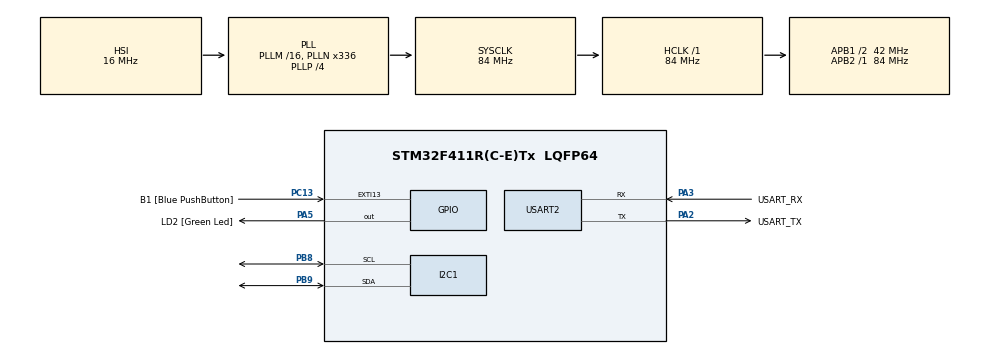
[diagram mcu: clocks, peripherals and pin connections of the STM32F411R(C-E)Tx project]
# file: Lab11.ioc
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Mcu.Family=STM32F4
PC15-OSC32_OUT.Mode=LSE-External-Oscillator
RCC.CortexFreq_Value=84000000
NVIC.I2C1_EV_IRQn=true\:0\:0\:false\:false\:true\:true\:true
PC13-ANTI_TAMP.GPIO_PuPd=GPIO_PULLUP
PC13-ANTI_TAMP.GPIO_Label=B1 [Blue PushButton]
PA14.GPIO_Label=TCK
PH1\ -\ OSC_OUT.Mode=HSE-External-Clock-Source
RCC.APB1CLKDivider=RCC_HCLK_DIV2
PC14-OSC32_IN.Signal=RCC_OSC32_IN
RCC.SYSCLKSource=RCC_SYSCLKSOURCE_PLLCLK
ProjectManager.StackSize=0x400
PA13.Signal=SYS_JTMS-SWDIO
PA3.Mode=Asynchronous
PH0\ -\ OSC_IN.Mode=HSE-External-Clock-Source
PH0\ -\ OSC_IN.Signal=RCC_OSC_IN
ProjectManager.TargetToolchain=STM32CubeIDE
I2C1.I2C_Mode=I2C_Fast
RCC.HCLKFreq_Value=84000000
PB9.Mode=I2C
RCC.APB2TimFreq_Value=84000000
PC15-OSC32_OUT.Signal=RCC_OSC32_OUT
RCC.AHBFreq_Value=84000000
NVIC.EXTI15_10_IRQn=true\:0\:0\:false\:false\:true\:true\:true
PA5.Signal=GPIO_Output
RCC.HSE_VALUE=8000000
PH1\ -\ OSC_OUT.Signal=RCC_OSC_OUT
board=NUCLEO-F411RE
PC13-ANTI_TAMP.Signal=GPXTI13
RCC.VCOOutputFreq_Value=336000000
RCC.APB2Freq_Value=84000000
PC14-OSC32_IN.Mode=LSE-External-Oscillator
PA14.Mode=Serial_Wire
PA13.Mode=Serial_Wire
NVIC.I2C1_ER_IRQn=true\:0\:0\:false\:false\:true\:true\:true
Mcu.Name=STM32F411R(C-E)Tx
PA2.Signal=USART2_TX
PA13.GPIO_Label=TMS
RCC.FLatency-AdvancedSettings=FLASH_LATENCY_2
RCC.48MHZClocksFreq_Value=84000000
PB3.Signal=SYS_JTDO-SWO
RCC.SYSCLKFreq_VALUE=84000000
Mcu.Package=LQFP64
PB9.Signal=I2C1_SDA
PA5.GPIO_Label=LD2 [Green Led]
USART2.VirtualMode=VM_ASYNC
PC13-ANTI_TAMP.GPIO_ModeDefaultEXTI=GPIO_MODE_IT_RISING_FALLING
PA2.GPIO_Label=USART_TX
PA14.Signal=SYS_JTCK-SWCLK
ProjectManager.HeapSize=0x200
RCC.HSI_VALUE=16000000
RCC.PLLP=RCC_PLLP_DIV4
NVIC.PriorityGroup=NVIC_PRIORITYGROUP_0
PB8.Mode=I2C
RCC.PLLN=336
RCC.APB1TimFreq_Value=84000000
PA2.Mode=Asynchronous
PB8.Signal=I2C1_SCL
RCC.APB1Freq_Value=42000000
PA3.GPIO_Label=USART_RX
PA3.Signal=USART2_RX
PB3.GPIO_Label=SWO

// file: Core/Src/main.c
/* USER CODE BEGIN Header */
/**
  ******************************************************************************
  * @file           : main.c
  * @brief          : Main program body
  ******************************************************************************
  * @attention
  *
  * <h2><center>&copy; Copyright (c) 2021 STMicroelectronics.
  * All rights reserved.</center></h2>
  *
  * This software component is licensed by ST under BSD 3-Clause license,
  * the "License"; You may not use this file except in compliance with the
  * License. You may obtain a copy of the License at:
  *                        opensource.org/licenses/BSD-3-Clause
  *
  ******************************************************************************
  */
/* USER CODE END Header */
#include "main.h"

/* USER CODE BEGIN PD */
//address from datasheet
//control code = address code begin with 1010 A2 A1 A0
//A2 A1 A0 ต่อ GND 1010 + 0 0 0
//stm32 I2C 7 bits but require 8 bit with shift front bit
//ต้องครบ 8 bit โดยชิพไปข้างหน้า 1 เพื่อให้อยู่ด้านซ้านสุด 1010000 +0
#define EEPROM_ADDR 0b10100000
//I2C
//slave address 0100 A2 A1 A0
//A2 A1 A0 ต่อ GND 0100 + 0 0 0
#define IOEXPD_ADDR 0b01000000
/* USER CODE END PD */

I2C_HandleTypeDef hi2c1;

UART_HandleTypeDef huart2;

/* USER CODE BEGIN PV */
//tricker
uint8_t eepromExampleWriteFlag = 0;
uint8_t eepromExampleReadFlag = 0;
uint8_t IOExpdrExampleWriteFlag = 0;
uint8_t IOExpdrExampleReadFlag = 0;

uint8_t eepromDataReadBack[4];
uint8_t IOExpdrDataReadBack;
uint8_t IOExpdrDataWrite = 0b1111; //ข้อมูลที่จะเขียนใน io expander ไฟจะติดสลับ

uint8_t led_read = 0b0;
uint8_t D_1 = 0;
uint8_t D_2 = 0;
uint8_t D_3 = 0;
uint8_t D_4 = 0;

GPIO_PinState button[2] = {0};
uint8_t press = 0;
/* USER CODE END PV */

void SystemClock_Config(void);
static void MX_GPIO_Init(void);
static void MX_USART2_UART_Init(void);
static void MX_I2C1_Init(void);
/* USER CODE BEGIN PFP */
//ไม่ได้เรีย�?ใช้บ่อย
//EEProm เป็นอุป�?รณ์เ�?็บข้อมูล เหมืนตารางอยู่ข้างใน
//เป็น�?ารเ�?็บข้อมูล�?บบไม่หายไป ถึง�?ม้ถอดปลั๊�? controller
//เ�?็บข้อมูลไม่ใช้ไฟได้ �?ต่มีจำ�?ัดจำนวนครั้งที่เขียนได้
//ถ้าเขียนเ�?ินจำนวนครั้งที่เขียนไว้ต่อ 1 cell , cell จะเสื่อม ทำให้ไม่เรีย�?ใช้บ่อย
//ใช้เขียนเฉพาะจำเป็น �?ต่อ่านได้เรื่อย ๆ
//มีประโยชน์ใน�?ารเ�?็บข้อมูล setting
void EEPROMWriteExample();
void EEPROMReadExample(uint8_t *Rdata, uint16_t len);
//เพิ่ม port gpio
//ทำงานคล้าย eeprom
void IOExpenderInit();
void IOExpenderReadPinA(uint8_t *Rdata);
void IOExpenderWritePinB(uint8_t Wdata);

/* USER CODE END PFP */

int main(void)
{

  /* MCU Configuration--------------------------------------------------------*/

  /* Reset of all peripherals, Initializes the Flash interface and the Systick. */
  HAL_Init();

  /* Configure the system clock */
  SystemClock_Config();

  /* Initialize all configured peripherals */
  MX_GPIO_Init();
  MX_USART2_UART_Init();
  MX_I2C1_Init();
  /* USER CODE BEGIN 2 */
  //delay ตอนเริ่มเนื่องจา�? ioexpender restart ไปพร้อมๆ�?ับเวลาที่�?ด reset
  //ใช้เวลาเล็�?น้อยใน�?าร ตั้งค่าตัดเอง
  HAL_Delay(100);
  //initial
  IOExpenderInit();
  /* USER CODE END 2 */

  /* Infinite loop */
  /* USER CODE BEGIN WHILE */
  while (1)
  {
	  HAL_I2C_Master_Transmit(&hi2c1, (0x23<<1),(uint8_t*)0x45 , 8, 100);

	  button[0]= HAL_GPIO_ReadPin(GPIOC, GPIO_PIN_13);

	  if(button[1]==GPIO_PIN_SET
	  	  	&& button[0]==GPIO_PIN_RESET && press ==0) //if press button
	  {
		  IOExpdrExampleWriteFlag = 0;
		  IOExpdrExampleReadFlag = 1;
		  eepromExampleWriteFlag = 1;
		  eepromExampleReadFlag = 0;
		  press = 1;
	  }

	  if(button[1]==GPIO_PIN_RESET
	  	  	  	&& button[0]==GPIO_PIN_SET && press ==1) //if press button
	  	  {
	  		  IOExpdrExampleWriteFlag = 1;
	  		  IOExpdrExampleReadFlag = 0;
	  		  eepromExampleWriteFlag = 0;
	  		  eepromExampleReadFlag = 1;
	  		  press = 0;
	  	  }
	  IOExpenderReadPinA(&IOExpdrDataReadBack);
	 //	  led_read = IOExpdrDataReadBack<<4;
	 //	  IOExpdrDataWrite = IOExpdrDataReadBack&0b00001111;
//	 	  D_4 = (IOExpdrDataReadBack&0b1000)>>3;
//	 	  D_3 = (IOExpdrDataReadBack&0b0100)>>2;
//	 	  D_2 = (IOExpdrDataReadBack&0b0010)>>1;
//	 	  D_1 = (IOExpdrDataReadBack&0b0001);
	 	  EEPROMWriteExample();

	 	  	  	   //เ�?็บค่าใน  eepromDataReadBack
	 	  EEPROMReadExample(eepromDataReadBack, 4);
	 	 IOExpenderWritePinB(eepromDataReadBack[0]);
	  button[1] = button[0];

    /* USER CODE END WHILE */

  }
}

void SystemClock_Config(void)
{
  RCC_OscInitTypeDef RCC_OscInitStruct = {0};
  RCC_ClkInitTypeDef RCC_ClkInitStruct = {0};

  /** Configure the main internal regulator output voltage
  */
  __HAL_RCC_PWR_CLK_ENABLE();
  __HAL_PWR_VOLTAGESCALING_CONFIG(PWR_REGULATOR_VOLTAGE_SCALE1);
  /** Initializes the RCC Oscillators according to the specified parameters
  * in the RCC_OscInitTypeDef structure.
  */
  RCC_OscInitStruct.OscillatorType = RCC_OSCILLATORTYPE_HSI;
  RCC_OscInitStruct.HSIState = RCC_HSI_ON;
  RCC_OscInitStruct.HSICalibrationValue = RCC_HSICALIBRATION_DEFAULT;
  RCC_OscInitStruct.PLL.PLLState = RCC_PLL_ON;
  RCC_OscInitStruct.PLL.PLLSource = RCC_PLLSOURCE_HSI;
  RCC_OscInitStruct.PLL.PLLM = 16;
  RCC_OscInitStruct.PLL.PLLN = 336;
  RCC_OscInitStruct.PLL.PLLP = RCC_PLLP_DIV4;
  RCC_OscInitStruct.PLL.PLLQ = 4;
  if (HAL_RCC_OscConfig(&RCC_OscInitStruct) != HAL_OK)
  {
    Error_Handler();
  }
  /** Initializes the CPU, AHB and APB buses clocks
  */
  RCC_ClkInitStruct.ClockType = RCC_CLOCKTYPE_HCLK|RCC_CLOCKTYPE_SYSCLK
                              |RCC_CLOCKTYPE_PCLK1|RCC_CLOCKTYPE_PCLK2;
  RCC_ClkInitStruct.SYSCLKSource = RCC_SYSCLKSOURCE_PLLCLK;
  RCC_ClkInitStruct.AHBCLKDivider = RCC_SYSCLK_DIV1;
  RCC_ClkInitStruct.APB1CLKDivider = RCC_HCLK_DIV2;
  RCC_ClkInitStruct.APB2CLKDivider = RCC_HCLK_DIV1;

  if (HAL_RCC_ClockConfig(&RCC_ClkInitStruct, FLASH_LATENCY_2) != HAL_OK)
  {
    Error_Handler();
  }
}

static void MX_I2C1_Init(void)
{

  hi2c1.Instance = I2C1;
  hi2c1.Init.ClockSpeed = 400000;
  hi2c1.Init.DutyCycle = I2C_DUTYCYCLE_2;
  hi2c1.Init.OwnAddress1 = 0;
  hi2c1.Init.AddressingMode = I2C_ADDRESSINGMODE_7BIT;
  hi2c1.Init.DualAddressMode = I2C_DUALADDRESS_DISABLE;
  hi2c1.Init.OwnAddress2 = 0;
  hi2c1.Init.GeneralCallMode = I2C_GENERALCALL_DISABLE;
  hi2c1.Init.NoStretchMode = I2C_NOSTRETCH_DISABLE;
  if (HAL_I2C_Init(&hi2c1) != HAL_OK)
  {
    Error_Handler();
  }

}

static void MX_USART2_UART_Init(void)
{

  huart2.Instance = USART2;
  huart2.Init.BaudRate = 115200;
  huart2.Init.WordLength = UART_WORDLENGTH_8B;
  huart2.Init.StopBits = UART_STOPBITS_1;
  huart2.Init.Parity = UART_PARITY_NONE;
  huart2.Init.Mode = UART_MODE_TX_RX;
  huart2.Init.HwFlowCtl = UART_HWCONTROL_NONE;
  huart2.Init.OverSampling = UART_OVERSAMPLING_16;
  if (HAL_UART_Init(&huart2) != HAL_OK)
  {
    Error_Handler();
  }

}

static void MX_GPIO_Init(void)
{
  GPIO_InitTypeDef GPIO_InitStruct = {0};

  /* GPIO Ports Clock Enable */
  __HAL_RCC_GPIOC_CLK_ENABLE();
  __HAL_RCC_GPIOH_CLK_ENABLE();
  __HAL_RCC_GPIOA_CLK_ENABLE();
  __HAL_RCC_GPIOB_CLK_ENABLE();

  /*Configure GPIO pin Output Level */
  HAL_GPIO_WritePin(LD2_GPIO_Port, LD2_Pin, GPIO_PIN_RESET);

  /*Configure GPIO pin : B1_Pin */
  GPIO_InitStruct.Pin = B1_Pin;
  GPIO_InitStruct.Mode = GPIO_MODE_IT_RISING_FALLING;
  GPIO_InitStruct.Pull = GPIO_PULLUP;
  HAL_GPIO_Init(B1_GPIO_Port, &GPIO_InitStruct);

  /*Configure GPIO pin : LD2_Pin */
  GPIO_InitStruct.Pin = LD2_Pin;
  GPIO_InitStruct.Mode = GPIO_MODE_OUTPUT_PP;
  GPIO_InitStruct.Pull = GPIO_NOPULL;
  GPIO_InitStruct.Speed = GPIO_SPEED_FREQ_LOW;
  HAL_GPIO_Init(LD2_GPIO_Port, &GPIO_InitStruct);

  /* EXTI interrupt init*/
  HAL_NVIC_SetPriority(EXTI15_10_IRQn, 0, 0);
  HAL_NVIC_EnableIRQ(EXTI15_10_IRQn);

}

/* USER CODE BEGIN 4 */
//�?ารเขียน eeprom

void EEPROMWriteExample() {
	//flag = 1 && I2C ready
	if (eepromExampleWriteFlag && hi2c1.State == HAL_I2C_STATE_READY) {

		//ข้อมูลที่จเขียนใน eeprom
		//ข้อระวัง I2C ทำงาน �?บบ IT //ต้องมั่นใจว่า data ไม่เปลี่ยน�?ปลงไประหว่างที่เขียน
		//ใส่ static เผื่อเ�?็บค่า หลังจา�?จบฟัง�?์ชันยังคงรั�?ษา data
		static uint8_t data[1];
		data[0] = IOExpdrDataReadBack&0b00001111;
//		data[0] = D_1;
//		data[1] = D_2;
//		data[2] = D_3;
//		data[3] = D_4;
		//write memory
		//Memaddress = ตำ�?หน่งภายใน eeprom ที่ต้อง�?ารเขียน  0x20 //เลขที่ตัวเอง
		//high & low byte = 16bits ตำ�?หน่งใน eeprom
		HAL_I2C_Mem_Write_IT(&hi2c1, EEPROM_ADDR, 0x20, I2C_MEMADD_SIZE_16BIT,
				data, 1);

		HAL_Delay(10);
		//set flag = 0 //ทำงานครั้งเดียว
		eepromExampleWriteFlag = 0;

	}
}
void EEPROMReadExample(uint8_t *Rdata, uint16_t len) {
	if (eepromExampleReadFlag && hi2c1.State == HAL_I2C_STATE_READY) {

		//read
		HAL_I2C_Mem_Read_IT(&hi2c1, EEPROM_ADDR, 0x20, I2C_MEMADD_SIZE_16BIT,
				Rdata, len);
		HAL_Delay(10);
		eepromExampleReadFlag = 0;
	}
}
void IOExpenderInit() {
	//Init All
	//setting ตารางใน IOexpander เพื่อให้ใช้งานได้ sequencial write
	//ขนาด 16 bit
	//POR/RST = ค่า reset ตอนตัดไฟ ถ้าตัดไฟข้อมูลจะหายเลย
	//สามารถอ่านเขียนได้อย่างไม่จำ�?ัด
	//IODIRA = 1 input GPIOA 0xFF
	//IODIRB = 0 output GPIOB 0x00
	//ที่เหลือ default 0x00
	//GPPUA ช่อง 12 =1 pull up input �?�?้ปั�?หาปล่อยลยเป็น high 0xFF ค่าจะได้ไม่สุ่ม
	//olatb = 0x15 ตั้งไว้เป็น 0x00 ไฟจะติดทั้งหมด
	static uint8_t Setting[0x16] = { 0xFF, 0x00, 0x00, 0x00, 0x00, 0x00, 0x00,
			0x00, 0x00, 0x00, 0x00, 0x00, 0xFF, 0x00, 0x00, 0x00, 0x00, 0x00,
			0x00, 0x00, 0x00, 0x00 };
	//polling
	//อยู่ในรูป�?บบ initial write
	//ถู�?เรีย�?ครั้ง�?ร�?ตอนเปิด controller
	//เวลา�?ดปุ่ม reset = Nrst จะดึงขานี้ลง หลังจา�?นั้นจะ reset ค่าทั้งหมดในนี้
	//address 8 bit
	//ตำ�?หน่ง IODIRA = 0x00
	HAL_I2C_Mem_Write(&hi2c1, IOEXPD_ADDR, 0x00, I2C_MEMADD_SIZE_8BIT, Setting,
			0x16, 100);
}
//master recive & master transmit เป็น�?ารอ่านเขียนป�?ติ ใน project modlu3
//master seq recive, master seq rans,it เป็น�?ารตุมจังหวะรับส่ง

//ข้อมูลที่อ่านเขียนสามารถเ�?็บค่า �?ละ �?สดง�?ารทำงาน ควบคุม  Gpio �?ต่ละช่อง
//IOIDR �?ำหนด output �?ต่ละช่อง
//gpio = reflec logic level ของ�?ต่ลช่อง
//�?ารเขียนข้อมูลใน emory ของ IOexpender �?ต่ memory ไปควบคุม�?ารทำงานต่าง ๆ ใน IOExpender
//ทำงานเหมือน eeprom
void IOExpenderReadPinA(uint8_t *Rdata) {
	if (IOExpdrExampleReadFlag && hi2c1.State == HAL_I2C_STATE_READY) {
		//read gpio A at 0x12
		//เ�?็บใน Rdata
		//ตำ�?หน่ง GPIOA = 0x12
		HAL_I2C_Mem_Read_IT(&hi2c1, IOEXPD_ADDR, 0x12, I2C_MEMADD_SIZE_8BIT,
				Rdata, 1);
		//HAL_Delay(100);
		IOExpdrExampleReadFlag =0;
	}
}

//olat  = �?ำหนด output high low
//16 bits = Bank 0
//output high ไฟไม่ติด
void IOExpenderWritePinB(uint8_t Wdata) {
	if (IOExpdrExampleWriteFlag && hi2c1.State == HAL_I2C_STATE_READY) {
		//สร้าง data ตัวใหม่
		static uint8_t data;
		//ป้อง�?ัน�?าร�?�?้ไขข้อมูลใน wdata เมื่อ ข้อมูลใน i2c ยังส่งไม่เสร็จ ข้อมูลจะยังไม่ถู�?�?�?้ไข
		data = Wdata; //เปลี่ยน�?ปลงค่าของตัวนี้ได้เรื่อย ๆ
		//write memory
		//เขียนลงใน output GPIOB �?ต่ไม่ได้เขียนลง GPIOB โดยตรง โดยจะเขียนลงใน OLATB
		//olatb = 0x15 output gpiob
		HAL_I2C_Mem_Write_IT(&hi2c1, IOEXPD_ADDR, 0x15, I2C_MEMADD_SIZE_8BIT,
				&data, 1);
		//HAL_Delay(100);
		IOExpdrExampleWriteFlag=0;
	}
}

//void HAL_GPIO_EXTI_Callback(uint16_t GPIO_Pin) //Interrupt
//{
//	if (GPIO_Pin == GPIO_PIN_13 )
//	{
//		if (HAL_GPIO_ReadPin(GPIOC, GPIO_PIN_13) == GPIO_PIN_RESET) //falling
//		{
//			State_button = 0;
//			IOExpdrExampleWriteFlag = 0;
//			IOExpdrExampleReadFlag = 1;
//			eepromExampleWriteFlag = 1;
//			eepromExampleReadFlag = 0;

//		}
//		else //rising
//		{
//			State_button = 1;
//			IOExpdrExampleReadFlag = 0;
//			IOExpdrExampleWriteFlag = 1;
//			eepromExampleReadFlag = 1;
//			eepromExampleWriteFlag = 0;
//
//		}
//	}
//}
/* USER CODE END 4 */

void Error_Handler(void)
{
  __disable_irq();
  while (1)
  {
  }
}

/************************ (C) COPYRIGHT STMicroelectronics *****END OF FILE****/
